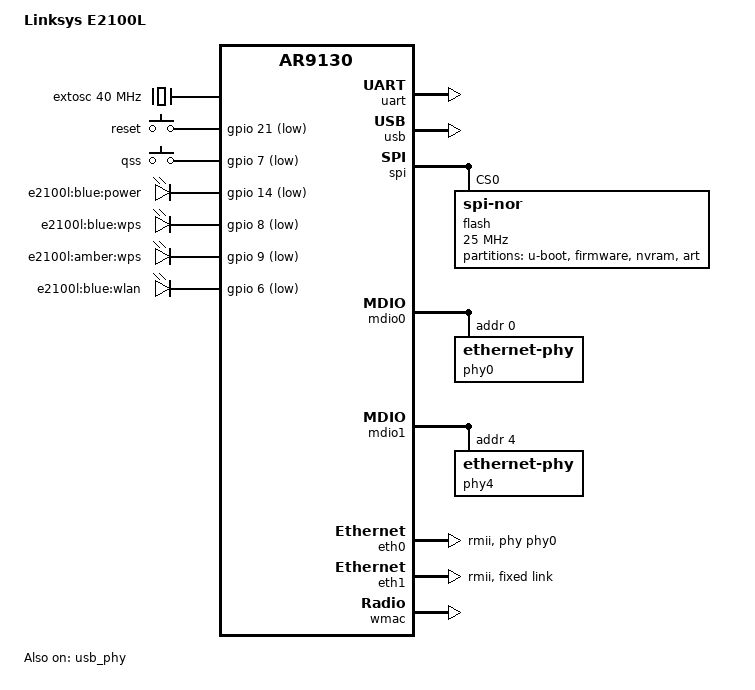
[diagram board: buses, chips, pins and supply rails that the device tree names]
// SPDX-License-Identifier: GPL-2.0
/dts-v1/;

#include <dt-bindings/gpio/gpio.h>
#include <dt-bindings/input/input.h>

#include "ar9132.dtsi"

/ {
	compatible = "linksys,linksys-e2100l", "qca,ar9130";
	model = "Linksys E2100L";

	aliases {
		led-status = &system;
	};

	extosc: ref {
		compatible = "fixed-clock";
		#clock-cells = <0>;
		clock-frequency = <40000000>;
	};

	keys {
		compatible = "gpio-keys";
		#address-cells = <1>;
		#size-cells = <0>;

		reset {
			label = "reset";
			linux,code = <KEY_RESTART>;
			gpios = <&gpio 21 GPIO_ACTIVE_LOW>;
			debounce-interval = <60>;
		};

		wifi {
			label = "qss";
			linux,code = <KEY_WPS_BUTTON>;
			gpios = <&gpio 7 GPIO_ACTIVE_LOW>;
			debounce-interval = <60>;
		};
	};

	leds {
		compatible = "gpio-leds";
		power {
			label = "e2100l:blue:power";
			gpios = <&gpio 14 GPIO_ACTIVE_LOW>;
			default-state = "default-on";
		};

		system: wps_blue {
			label = "e2100l:blue:wps";
			gpios = <&gpio 8 GPIO_ACTIVE_LOW>;
//			linux,default-trigger = "heartbeat";
		};

		wps_amber {
			label = "e2100l:amber:wps";
			gpios = <&gpio 9 GPIO_ACTIVE_LOW>;
		};

		wlan {
			label = "e2100l:blue:wlan";
			gpios = <&gpio 6 GPIO_ACTIVE_LOW>;
			default-state = "off";
			linux,default-trigger = "phy0tpt";
		};
	};

/*	rtl8366rb {
		compatible = "realtek,rtl8366rb";
		gpio-sda = <&gpio 18 GPIO_ACTIVE_HIGH>;
		gpio-sck = <&gpio 19 GPIO_ACTIVE_HIGH>;

		mdio-bus {
			status = "okay";

			phy0: ethernet-phy@0 {
				reg = <0>;
			};
		};
	};*/
};

&uart {
	status = "okay";
};

&pll {
	clocks = <&extosc>;
};

&usb {
	status = "okay";
};

&usb_phy {
	status = "okay";
};

&spi {
	status = "okay";
	num-cs = <1>;

	flash@0 {
		#address-cells = <1>;
		#size-cells = <1>;
		compatible = "jedec,spi-nor";
		reg = <0>;
		spi-max-frequency = <25000000>;

		partitions {
			compatible = "fixed-partitions";
			#address-cells = <1>;
			#size-cells = <1>;

			uboot: partition@0 {
				label = "u-boot";
				reg = <0x000000 0x040000>;
				read-only;
			};

			partition@40000 {
				label = "firmware";
				reg = <0x040000 0x7A0000>;
			};

			partition@7E0000 {
				label = "nvram";
				reg = <0x7E0000 0x010000>;
				read-only;
			};

			art: partition@7F0000 {
				label = "art";
				reg = <0x7F0000 0x010000>;
				read-only;
			};
		};
	};
};

&mdio0 {
	status = "okay";

	phy0: ethernet-phy@0 {
		reg = <0>;
		phy-mode = "rmii";
	};
};

&mdio1 {
	status = "okay";

	phy4: ethernet-phy@4 {
		reg = <4>;
		phy-mode = "rmii";
	};
};


&eth0 {
	status = "okay";

	phy-mode = "rmii";
	mtd-mac-address = <&uboot 0xe0000>;
	phy-handle = <&phy0>;

/*	fixed-link {
		speed = <1000>;
		full-duplex;
	};*/
};

&eth1 {
	status = "okay";

	phy-mode = "rmii";
	mtd-mac-address = <&uboot 0xe0000>;
	mtd-mac-address-increment = <1>;

	fixed-link {
		speed = <1000>;
		full-duplex;
	};
};

&wmac {
	status = "okay";
	mtd-cal-data = <&art 0x1000>;
	mtd-mac-address = <&uboot 0xe0000>;
};
